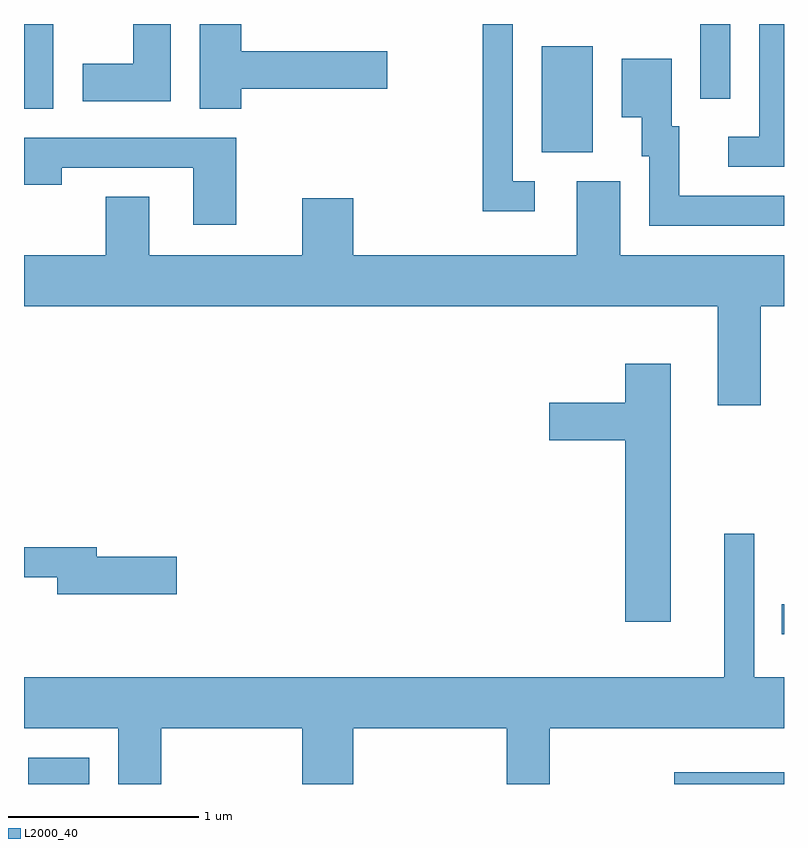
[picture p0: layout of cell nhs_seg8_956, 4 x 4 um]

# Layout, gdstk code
import gdstk
lib = gdstk.Library(unit=1e-6, precision=1e-09)
def R(c, l, rs):  # rectangles x0, y0, x1, y1
    for r in rs: c.add(gdstk.rectangle(r[:2], r[2:], *l))
def P(c, l, *ps):  # polygons
    for p in ps: c.add(gdstk.Polygon(p, *l))
L2000_40 = (2000, 40)

nhs_seg8_956 = lib.new_cell('nhs_seg8_956')
R(nhs_seg8_956, L2000_40, [(213.633,1838.342,213.954,1838.479), (217.033,1838.342,217.611,1838.404), (217.598,1839.131,217.611,1839.289), (216.336,1841.666,216.604,1842.224), (213.611,1841.896,213.764,1842.342), (217.171,1841.948,217.329,1842.342)])
P(nhs_seg8_956, L2000_40, [(214.754,1842.001),(215.524,1842.001),(215.524,1842.199),(214.754,1842.199),(214.754,1842.342),(214.536,1842.342),(214.536,1841.896),(214.754,1841.896)],
  [(217.611,1842.342),(217.481,1842.342),(217.481,1841.749),(217.318,1841.749),(217.318,1841.591),(217.611,1841.591)],
  [(214.384,1842.342),(214.186,1842.342),(214.186,1842.134),(213.921,1842.134),(213.921,1841.936),(214.384,1841.936)],
  [(216.298,1841.514),(216.184,1841.514),(216.184,1842.342),(216.026,1842.342),(216.026,1841.356),(216.298,1841.356)],
  [(217.611,1841.439),(217.059,1841.439),(217.059,1841.804),(217.019,1841.804),(217.019,1842.159),(216.756,1842.159),(216.756,1841.851),(216.861,1841.851),(216.861,1841.646),(216.901,1841.646),(216.901,1841.281),(217.611,1841.281)],
  [(214.729,1841.744),(213.611,1841.744),(213.611,1841.496),(213.809,1841.496),(213.809,1841.586),(214.501,1841.586),(214.501,1841.286),(214.729,1841.286)],
  [(217.489,1840.856),(217.611,1840.856),(217.611,1841.124),(216.749,1841.124),(216.749,1841.514),(216.521,1841.514),(216.521,1841.124),(215.344,1841.124),(215.344,1841.424),(215.076,1841.424),(215.076,1841.124),(214.269,1841.124),(214.269,1841.434),(214.041,1841.434),(214.041,1841.124),(213.611,1841.124),(213.611,1840.856),(217.261,1840.856),(217.261,1840.336),(217.489,1840.336)],
  [(217.014,1840.554),(216.776,1840.554),(216.776,1840.349),(216.376,1840.349),(216.376,1840.151),(216.776,1840.151),(216.776,1839.196),(217.014,1839.196)],
  [(214.334,1838.636),(215.076,1838.636),(215.076,1838.342),(215.344,1838.342),(215.344,1838.636),(216.151,1838.636),(216.151,1838.342),(216.379,1838.342),(216.379,1838.636),(217.611,1838.636),(217.611,1838.904),(217.454,1838.904),(217.454,1839.658),(217.296,1839.658),(217.296,1838.904),(213.611,1838.904),(213.611,1838.636),(214.106,1838.636),(214.106,1838.342),(214.334,1838.342)],
  [(214.414,1839.539),(213.994,1839.539),(213.994,1839.589),(213.611,1839.589),(213.611,1839.431),(213.786,1839.431),(213.786,1839.341),(214.414,1839.341)])

lib.write_gds('nhs_seg8_956.gds')
